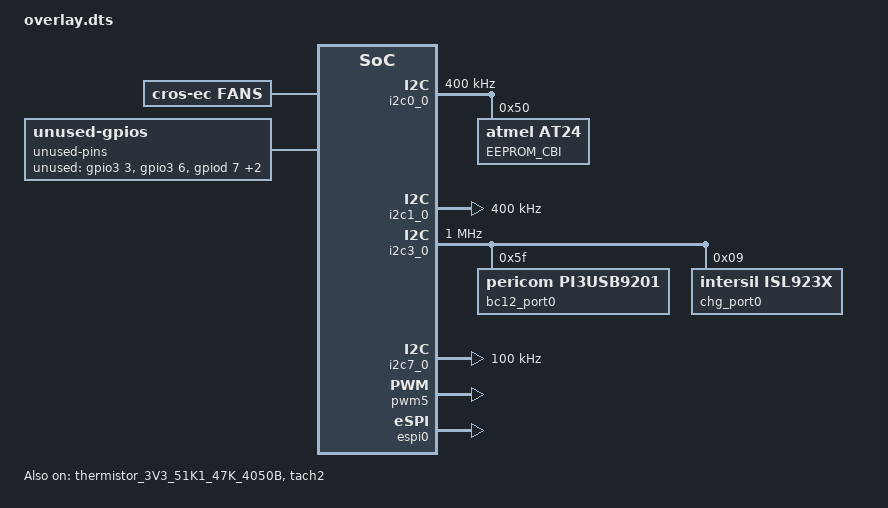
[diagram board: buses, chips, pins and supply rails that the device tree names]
/* Copyright 2022 The Chromium OS Authors. All rights reserved.
 * Use of this source code is governed by a BSD-style license that can be
 * found in the LICENSE file.
 */

#include <cros/thermistor/thermistor.dtsi>

/ {
	aliases {
		gpio-cbi-wp = &gpio_ec_cbi_wp;
		gpio-wp = &gpio_ec_wp_odl;
		int-wp = &int_wp_l;
		gpio-kbd-kso2 = &gpio_ec_kso_02_inv;
	};

	ec-console {
		compatible = "ec-console";
		disabled = "events", "lpc", "hostcmd";
	};

	batteries {
		default_battery: smp {
			compatible = "smp,l22m3pg0", "battery-smart";
		};
		smp_l22m3pg1 {
			compatible = "smp,l22m3pg1", "battery-smart";
		};
		sunwoda_l22d3pg0 {
			compatible = "sunwoda,l22d3pg0", "battery-smart";
		};
		sunwoda_l22d3pg1 {
			compatible = "sunwoda,l22d3pg1", "battery-smart";
		};
		celxpert_l22c3pg0 {
			compatible = "celxpert,l22c3pg0", "battery-smart";
		};
	};

	hibernate-wake-pins {
		compatible = "cros-ec,hibernate-wake-pins";
		wakeup-irqs = <
			&int_power_button
			&int_lid_open
		>;
	};

	gpio-interrupts {
		compatible = "cros-ec,gpio-interrupts";

		int_power_button: power_button {
			irq-pin = <&gpio_gsc_ec_pwr_btn_odl>;
			flags = <GPIO_INT_EDGE_BOTH>;
			handler = "power_button_interrupt";
		};
		int_wp_l: wp_l {
			irq-pin = <&gpio_ec_wp_odl>;
			flags = <GPIO_INT_EDGE_BOTH>;
			handler = "switch_interrupt";
		};
		int_lid_open: lid_open {
			irq-pin = <&gpio_lid_open>;
			flags = <GPIO_INT_EDGE_BOTH>;
			handler = "lid_interrupt";
		};
		int_tablet_mode: tablet_mode {
			irq-pin = <&gpio_tablet_mode_l>;
			flags = <GPIO_INT_EDGE_BOTH>;
			handler = "gmr_tablet_switch_isr";
		};
		int_imu: ec_imu {
			irq-pin = <&gpio_imu_int_l>;
			flags = <GPIO_INT_EDGE_FALLING>;
			handler = "bmi3xx_interrupt";
		};
		int_vol_down: vol_down {
			irq-pin = <&gpio_voldn_btn_odl>;
			flags = <GPIO_INT_EDGE_BOTH>;
			handler = "button_interrupt";
		};
		int_vol_up: vol_up {
			irq-pin = <&gpio_volup_btn_odl>;
			flags = <GPIO_INT_EDGE_BOTH>;
			handler = "button_interrupt";
		};
		int_usb_c0: usb_c0 {
			irq-pin = <&gpio_usb_c0_int_odl>;
			flags = <GPIO_INT_EDGE_FALLING>;
			handler = "usb_interrupt";
		};
		int_usb_c1: usb_c1 {
			irq-pin = <&gpio_sb_1>;
			flags = <GPIO_INT_EDGE_FALLING>;
			handler = "usb_interrupt";
		};
	};

	named-gpios {
		gpio_sb_1: sb_1 {
			gpios = <&gpio0 2 GPIO_PULL_UP>;
			no-auto-init;
		};

		gpio_sb_2: sb_2 {
			gpios = <&gpiod 4 GPIO_OUTPUT>;
			no-auto-init;
		};

		gpio_sb_3: sb_3 {
			gpios = <&gpiof 5 GPIO_OPEN_DRAIN>;
			no-auto-init;
		};
		gpio_sb_4: sb_4 {
			gpios = <&gpiof 4 GPIO_INPUT>;
			no-auto-init;
		};
		gpio_fan_enable: fan-enable {
			gpios = <&gpio6 3 GPIO_OUTPUT>;
			no-auto-init;
		};
		gpio_power_led: power_led {
			gpios = <&gpioc 2 GPIO_OUTPUT_LOW>;
		};
	};

	/*
	 * Aliases used for sub-board GPIOs.
	 */
	aliases {
		/*
		 * Input GPIO when used with type-C port 1
		 * Output when used with HDMI sub-board
		 */
		gpio-usb-c1-int-odl = &gpio_sb_1;
		gpio-en-rails-odl = &gpio_sb_1;
		/*
		 * Sub-board with type A USB, enable.
		 */
		gpio-en-usb-a1-vbus = &gpio_sb_2;
		/*
		 * HPD pins for HDMI sub-board.
		 */
		gpio-hdmi-en-odl = &gpio_sb_3;
		gpio-hpd-odl = &gpio_sb_4;
		/*
		 * Enable S5 rails for LTE sub-board
		 */
		gpio-en-sub-s5-rails = &gpio_sb_2;
	};

	named-temp-sensors {
		memory {
			compatible = "cros-ec,temp-sensor-thermistor",
				     "cros-ec,temp-sensor";
			thermistor = <&thermistor_3V3_51K1_47K_4050B>;
			enum-name = "TEMP_SENSOR_1";
			temp_fan_off = <35>;
			temp_fan_max = <60>;
			temp_host_high = <85>;
			temp_host_halt = <90>;
			temp_host_release_high = <80>;
			adc = <&adc_temp_sensor_1>;
			power-good-pin = <&gpio_ec_soc_dsw_pwrok>;
		};
		charger {
			compatible = "cros-ec,temp-sensor-thermistor",
				     "cros-ec,temp-sensor";
			thermistor = <&thermistor_3V3_51K1_47K_4050B>;
			enum-name = "TEMP_SENSOR_2";
			temp_fan_off = <35>;
			temp_fan_max = <60>;
			temp_host_high = <85>;
			temp_host_halt = <90>;
			temp_host_release_high = <80>;
			adc = <&adc_temp_sensor_2>;
			power-good-pin = <&gpio_ec_soc_dsw_pwrok>;
		};
		ambient {
			compatible = "cros-ec,temp-sensor-thermistor",
				     "cros-ec,temp-sensor";
			thermistor = <&thermistor_3V3_51K1_47K_4050B>;
			enum-name = "TEMP_SENSOR_3";
			temp_fan_off = <35>;
			temp_fan_max = <60>;
			temp_host_high = <85>;
			temp_host_halt = <90>;
			temp_host_release_high = <80>;
			adc = <&adc_temp_sensor_3>;
			power-good-pin = <&gpio_ec_soc_dsw_pwrok>;
		};
	};

	usba {
		compatible = "cros-ec,usba-port-enable-pins";
		/*
		 * sb_2 is only configured as GPIO when USB-A1 is present,
		 * but it's still safe to control when disabled.
		 *
		 * ILIM_SEL pins are referred to by legacy enum name,
		 * GPIO_USB*_ILIM_SEL. The one for port A1 is unused on
		 * sub-boards that don't have USB-A so is safe to control
		 * regardless of system configuration.
		 */
		enable-pins = <&gpio_en_usb_a0_vbus &gpio_sb_2>;
		status = "okay";
	};

	usbc {
		#address-cells = <1>;
		#size-cells = <0>;

		port0@0 {
			compatible = "named-usbc-port";
			reg = <0>;
			bc12 = <&bc12_port0>;
			chg = <&chg_port0>;
			usb-muxes = <&virtual_mux_0>;
		};
		port0-muxes {
			virtual_mux_0: virtual-mux-0 {
				compatible = "cros-ec,usbc-mux-virtual";
			};
		};
	};

	fans {
		compatible = "cros-ec,fans";

		fan_0 {
			pwms = <&pwm5 5 PWM_KHZ(1) PWM_POLARITY_NORMAL>;
			rpm_min = <2200>;
			rpm_start = <2200>;
			rpm_max = <4200>;
			tach = <&tach2>;
			enable_gpio = <&gpio_fan_enable>;
		};
	};

	 /*
	  * Declare unused GPIOs so that they are shut down
	  * and use minimal power
	  */
	  unused-pins {
		compatible = "unused-gpios";
		unused-gpios =
			<&gpio3 3 0>,
			<&gpio3 6 0>,
			<&gpiod 7 0>,
			<&gpiof 2 0>,
			<&gpiof 3 0>;
	 };
};

&thermistor_3V3_51K1_47K_4050B {
	status = "okay";
};

&adc_ec_vsense_pp3300_s5 {
	/*
	 * Voltage divider on input has 47k upper and 220k lower legs with
	 * 2714 mV full-scale reading on the ADC. Apply the largest possible
	 * multiplier (without overflowing int32) to get the best possible
	 * approximation of the actual ratio, but derate by a factor of two to
	 * ensure unexpectedly high values won't overflow.
	 */
	mul = <(791261 / 2)>;
	div = <(651975 / 2)>;
};

/* Set bus speeds for I2C */
&i2c0_0 {
	label = "I2C_EEPROM";
	clock-frequency = <I2C_BITRATE_FAST>;

	cbi_eeprom: eeprom@50 {
		compatible = "atmel,at24";
		reg = <0x50>;
		label = "EEPROM_CBI";
		size = <2048>;
		pagesize = <16>;
		address-width = <8>;
		timeout = <5>;
	};
};

&i2c1_0 {
	label = "I2C_SENSOR";
	clock-frequency = <I2C_BITRATE_FAST>;
};

&i2c3_0 {
	label = "I2C_USB_C0_TCPC";
	clock-frequency = <I2C_BITRATE_FAST_PLUS>;

	bc12_port0: pi3usb9201@5f {
		compatible = "pericom,pi3usb9201";
		status = "okay";
		reg = <0x5f>;
		/*
		 * BC1.2 interrupt is shared with TCPC, so
		 * IRQ is not specified here and handled by
		 * usb_c0_interrupt.
		 */
	};

	chg_port0: isl923x@9 {
		compatible = "intersil,isl923x";
		status = "okay";
		reg = <0x9>;
	};
};

&i2c7_0 {
	label = "I2C_BATTERY";
	clock-frequency = <I2C_BITRATE_STANDARD>;
};

&pwm5_gpb7 {
	drive-open-drain;
};

&pwm5 {
	status = "okay";
	clock-bus = "NPCX_CLOCK_BUS_LFCLK";
	pinctrl-0 = <&pwm5_gpb7>;
	pinctrl-names = "default";
};

/* Tachometer for fan speed measurement */
&tach2 {
	status = "okay";
	pinctrl-0 = <&ta2_1_in_gp73>;
	pinctrl-names = "default";
	port = <NPCX_TACH_PORT_A>; /* port-A is selected */
	sample-clk = <NPCX_TACH_FREQ_LFCLK>; /* Use LFCLK as sampling clock */
	pulses-per-round = <2>; /* number of pulses per round of encoder */
};

/* host interface */
&espi0 {
	status = "okay";
	pinctrl-0 = <&espi_lpc_gp46_47_51_52_53_54_55_57>;
	pinctrl-names = "default";
};
